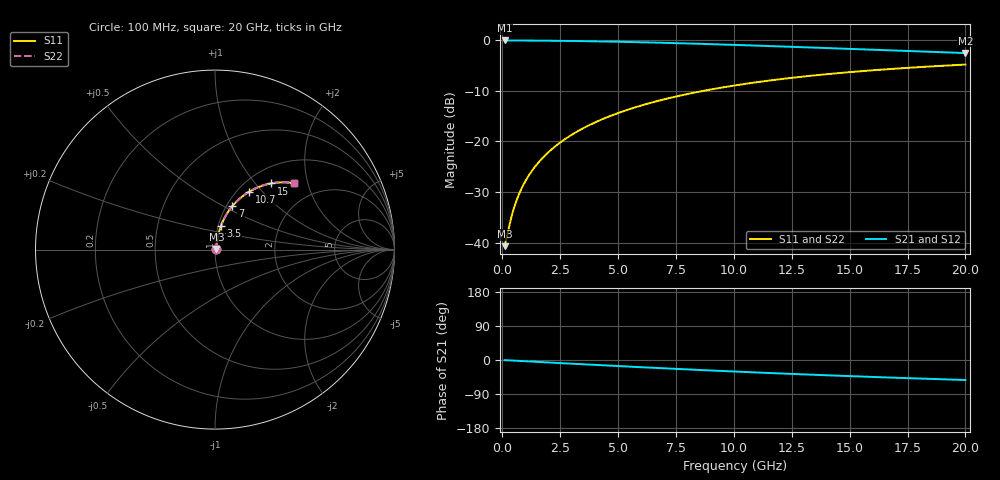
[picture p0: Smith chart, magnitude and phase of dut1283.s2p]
! Touchstone file exported from HFSS 2024.1.0
!  File:  C:/UserFiles/LocalFiles/RDL_TSV_Batchsim/temp_RDL_top_1283_1780242615.aedt
!  Generated:  11:52:30 PM May 31, 2026
!  Design:  RDL_top
!  Project:  temp_RDL_top_1283_1780242615
!  Setup:  Setup1
!  Solution:  Sweep
! Variables:
!  dtsv = 10.80580581um
!  hbump = 3um
!  htsv = 89.99um
!  ldown = 100um
!  lrdl = 685.77um
!  p = 40
!  p1 = 50.77um
!  rhole = 1um
!  t = 450um
!  tdown = 3.915915916um
!  trdl = 2.68um
!  wdown = 15.38538539um
!  wrdl = 10.82um
# GHz S MA R 50.000000
! Terminal data exported
! Port[1] = Box2_T1
! Port[2] = Box2_T2
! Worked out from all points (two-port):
!   200 points, 100 MHz to 20 GHz, reference 50 ohm
!   highest |S21| = -0.07 dB at 100 MHz (marker M1); lowest = -2.6 dB at 20 GHz (marker M2)
!   |S21| within 3 dB of the highest: start of sweep to end of sweep
!   lowest |S11| = -40.7 dB at 100 MHz (marker M3), VSWR 1.02, Z = 50.8 + j0.408 ohm
!   |S11| at or under -10 dB: start of sweep to 8.702 GHz
!   |S22| runs from -40.7 to -4.8 dB; largest |S21 - S12| = 3.1e-15
!   S11 on the Smith chart (normalised r, x): 100 MHz: 1.02, +0.01; 3.5 GHz: 1.03, +0.28; 7 GHz: 1.07, +0.55; 10.7 GHz: 1.13, +0.85; 15 GHz: 1.26, +1.21; 20 GHz: 1.48, +1.63
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0.1  0.009262 25.6  0.9917 -0.3  0.9917 -0.3  0.009262 25.6
! Gamma 0 0 0 0
! Port Impedance 50 0 50 0
0.3  0.01477 54.2  0.9914 -1.0  0.9914 -1.0  0.01477 54.2
0.4  0.01824 60.9  0.9913 -1.3  0.9913 -1.3  0.01824 60.9
0.6  0.02557 68.2  0.9908 -2.0  0.9908 -2.0  0.02557 68.2
0.7  0.02932 70.4  0.9905 -2.3  0.9905 -2.3  0.02932 70.4
0.9  0.03687 73.2  0.99 -3.0  0.99 -3.0  0.03687 73.2
1.2  0.04824 75.5  0.989 -4.0  0.989 -4.0  0.04824 75.5
1.7  0.06722 77.0  0.9872 -5.6  0.9872 -5.6  0.06722 77.0
2.2  0.0862 77.3  0.9848 -7.2  0.9848 -7.2  0.0862 77.3
2.8  0.1089 76.9  0.9814 -9.1  0.9814 -9.1  0.1089 76.9
3.5  0.1352 75.9  0.9766 -11.3  0.9766 -11.3  0.1352 75.9
4.2  0.1612 74.6  0.9708 -13.5  0.9708 -13.5  0.1612 74.6
5  0.1905 72.9  0.9631 -16.0  0.9631 -16.0  0.1905 72.9
6.8  0.2538 68.7  0.9425 -21.4  0.9425 -21.4  0.2539 68.7
7  0.2606 68.2  0.9399 -22.0  0.9399 -22.0  0.2607 68.3
8.5  0.3098 64.6  0.9195 -26.3  0.9195 -26.3  0.3099 64.6
10.1  0.3586 60.7  0.8958 -30.6  0.8958 -30.6  0.3588 60.8
10.7  0.3759 59.3  0.8866 -32.2  0.8866 -32.2  0.3761 59.4
13.4  0.4464 53.2  0.8441 -38.9  0.8441 -38.9  0.4467 53.2
15  0.4828 49.8  0.8189 -42.6  0.8189 -42.6  0.4831 49.8
16.7  0.5173 46.3  0.7927 -46.2  0.7927 -46.2  0.5176 46.4
20  0.5733 40.2  0.7448 -52.8  0.7448 -52.8  0.5736 40.3
